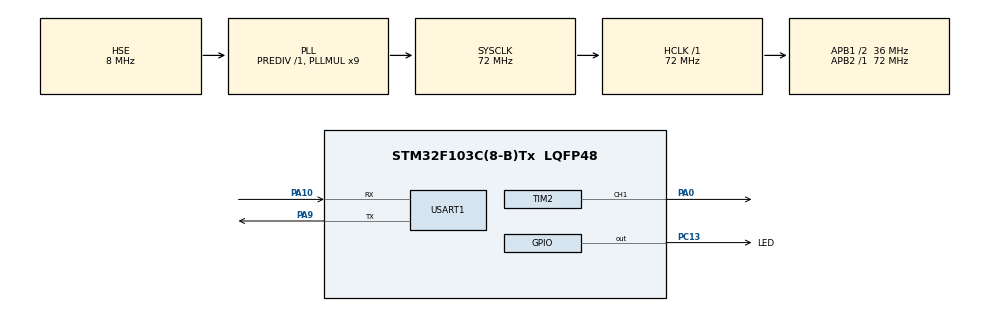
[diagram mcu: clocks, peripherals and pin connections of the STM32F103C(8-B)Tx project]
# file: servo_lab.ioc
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Mcu.Family=STM32F1
Mcu.Name=STM32F103C(8-B)Tx
Mcu.Package=LQFP48
NVIC.PriorityGroup=NVIC_PRIORITYGROUP_4
NVIC.TIM3_IRQn=true\:0\:0\:false\:false\:true\:true\:true\:true
PA0-WKUP.Signal=S_TIM2_CH1_ETR
PA10.Mode=Asynchronous
PA10.Signal=USART1_RX
PA13.Mode=Serial_Wire
PA13.Signal=SYS_JTMS-SWDIO
PA14.Mode=Serial_Wire
PA14.Signal=SYS_JTCK-SWCLK
PA9.Mode=Asynchronous
PA9.Signal=USART1_TX
PC13-TAMPER-RTC.GPIO_Label=LED
PC13-TAMPER-RTC.Signal=GPIO_Output
PD0-OSC_IN.Mode=HSE-External-Oscillator
PD0-OSC_IN.Signal=RCC_OSC_IN
PD1-OSC_OUT.Mode=HSE-External-Oscillator
PD1-OSC_OUT.Signal=RCC_OSC_OUT
ProjectManager.HeapSize=0x200
ProjectManager.StackSize=0x400
ProjectManager.TargetToolchain=CMake
RCC.AHBFreq_Value=72000000
RCC.APB1CLKDivider=RCC_HCLK_DIV2
RCC.APB1Freq_Value=36000000
RCC.APB1TimFreq_Value=72000000
RCC.APB2Freq_Value=72000000
RCC.APB2TimFreq_Value=72000000
RCC.HCLKFreq_Value=72000000
RCC.PLLMUL=RCC_PLL_MUL9
RCC.PLLSourceVirtual=RCC_PLLSOURCE_HSE
RCC.SYSCLKFreq_VALUE=72000000
RCC.SYSCLKSource=RCC_SYSCLKSOURCE_PLLCLK
RCC.USBFreq_Value=72000000
SH.S_TIM2_CH1_ETR.0=TIM2_CH1,PWM Generation1 CH1
TIM2.Channel-PWM\ Generation1\ CH1=TIM_CHANNEL_1
TIM2.Period=19999
TIM2.Prescaler=71
TIM3.Period=999
TIM3.Prescaler=71
USART1.VirtualMode=VM_ASYNC
VP_TIM3_VS_ClockSourceINT.Mode=Internal
board=custom

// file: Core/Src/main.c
/* USER CODE BEGIN Header */
/**
  ******************************************************************************
  * @file           : main.c
  * @brief          : Main program body
  ******************************************************************************
  * @attention
  *
  * Copyright (c) 2026 STMicroelectronics.
  * All rights reserved.
  *
  * This software is licensed under terms that can be found in the LICENSE file
  * in the root directory of this software component.
  * If no LICENSE file comes with this software, it is provided AS-IS.
  *
  ******************************************************************************
  */
/* USER CODE END Header */
#include "main.h"

/* USER CODE BEGIN Includes */
#include "Servo.h"
#include "OLED.h"
#include <stdio.h>

/* USER CODE END Includes */

/* USER CODE BEGIN PD */

/* ---- 按键定义 ----
 * 两个按键都接成"一端接引脚、一端接 GND"，引脚用内部上拉：
 *   松开 = 高电平(1)，按下 = 低电平(0)
 *
 *   PA12 -> 角度 +15°
 *   PA11 -> 角度 -15°
 *
 * 这两个脚原本是 USB 的 D+ / D-，本工程不用 USB，所以可以当普通 IO 用。
 * 但有一个硬前提：**板子上的 USB 口不能插线**。一旦插了 USB，
 * PA11/PA12 就被 USB 收发器占住，按键会失效。
 */
#define KEY_PORT          GPIOA
#define KEY_PIN_UP        GPIO_PIN_12    /* PA12：+15° */
#define KEY_PIN_DOWN      GPIO_PIN_11    /* PA11：-15° */

#define KEY_DEBOUNCE_MS   20             /* 消抖时间：电平要稳定 20ms 才算数 */
#define ANGLE_STEP        15.0f          /* 每按一次改变的角度 */

/* USER CODE END PD */

TIM_HandleTypeDef htim2;
TIM_HandleTypeDef htim3;

UART_HandleTypeDef huart1;

/* USER CODE BEGIN PV */
uint32_t tick = 0;

/* 自由累加的毫秒计数：在 TIM3 的 1ms 中断里 ++，不会归零。
 * 用来做按键消抖和序列节拍，比 tick（0~499 循环）好用。 */
static volatile uint32_t sysTickMs = 0;

/* 一个按键的运行状态 */
typedef struct
{
  uint16_t pin;      /* 引脚号 */
  uint8_t  raw;      /* 上次采样到的原始电平（1=松开 0=按下） */
  uint8_t  stable;   /* 消抖后确认的稳定电平 */
  uint32_t rawMs;    /* 原始电平上一次变化的时刻，单位 ms */
} Key_t;

static Key_t keyUp   = { KEY_PIN_UP,   1, 1, 0 };
static Key_t keyDown = { KEY_PIN_DOWN, 1, 1, 0 };

static float   curAngle   = 90.0f;  /* 当前目标角度 */
static uint8_t manualMode = 0;      /* 0 = 自动跑五角度序列，1 = 按键控制 */
/* USER CODE END PV */

void SystemClock_Config(void);
static void MX_GPIO_Init(void);
static void MX_TIM2_Init(void);
static void MX_TIM3_Init(void);
static void MX_USART1_UART_Init(void);

/* USER CODE BEGIN 0 */

/**
 * @brief  printf 重定向到 USART1（GCC 用 _write，不用 fputc）
 * @note  PA9 = USART1_TX -> CH340 的 RXD
 *        PA10 = USART1_RX <- CH340 的 TXD
 *        串口助手设 115200 / 8 数据位 / 无校验 / 1 停止位
 */
int _write(int file, char *ptr, int len)
{
  (void)file;
  HAL_UART_Transmit(&huart1, (uint8_t *)ptr, (uint16_t)len, HAL_MAX_DELAY);
  return len;
}

/**
 * @brief  按键扫描——"计时消抖"，不是"延时消抖"
 * @param  k 按键状态结构体
 * @retval 1 = 本次检测到一次"按下"（下降沿），0 = 无事件
 *
 * 为什么不用 HAL_Delay(20) 消抖：
 *   延时消抖会把主循环卡住 20ms，舵机 PWM 不受影响（那是硬件输出），
 *   但按键连续按、OLED 刷屏时会互相拖。这里改成看"电平稳定了多久"，
 *   完全不阻塞，主循环该干嘛干嘛。
 *
 * 逻辑很朴素，三句话：
 *   1. 电平一变，就记下"什么时刻变的"并重新开始计时；
 *   2. 电平连续 20ms 没再变，才承认它是真的；
 *   3. 承认下来的值是低电平，说明刚被按下 -> 返回 1。
 */
static uint8_t Key_Update(Key_t *k)
{
  uint8_t v = (HAL_GPIO_ReadPin(KEY_PORT, k->pin) == GPIO_PIN_RESET) ? 0 : 1;

  if (v != k->raw)                       /* 还在抖：重新计时，先不认 */
  {
    k->raw   = v;
    k->rawMs = sysTickMs;
  }
  else if ((sysTickMs - k->rawMs) >= KEY_DEBOUNCE_MS && v != k->stable)
  {
    k->stable = v;                       /* 稳定够久了，认下来 */
    if (v == 0) return 1;                /* 是按下（下降沿）才算一次事件 */
  }
  return 0;
}

/**
 * @brief  统一切角度：限幅 -> 驱动舵机 -> 刷新 OLED -> 打印串口
 * @note   自动序列和手动按键都走这一个出口，省得两处代码各写一遍、后面改漏一头。
 */
static void ApplyAngle(float a)
{
  if (a < 0.0f)   a = 0.0f;              /* 限幅：不超出 0~180，否则顶机械限位 */
  if (a > 180.0f) a = 180.0f;
  curAngle = a;

  Servo_SetAngle(a);

  uint16_t ccr = Servo_AngleToCCR(a);
  Servo_ShowOnOLED(a, ccr);
  printf("Target:%3d deg  CCR=%4d  Pulse=%d.%03d ms\r\n",
         (int)a, (int)ccr, (int)(ccr / 1000), (int)(ccr % 1000));
}

/* USER CODE END 0 */

int main(void)
{

  /* MCU Configuration--------------------------------------------------------*/

  /* Reset of all peripherals, Initializes the Flash interface and the Systick. */
  HAL_Init();

  /* Configure the system clock */
  SystemClock_Config();

  /* Initialize all configured peripherals */
  MX_GPIO_Init();
  MX_TIM2_Init();
  MX_TIM3_Init();
  MX_USART1_UART_Init();
  /* USER CODE BEGIN 2 */
  OLED_Init();

  /* 把自检的详细结果打到串口，比数灯可靠 */
  printf("\r\n=== servo_lab boot ===\r\n");
  printf("OLED probe: c1=%d c2=%d c3=%d c4=%d | result=%d addr=0x%02X\r\n",
         OLED_ProbeLog[0], OLED_ProbeLog[1], OLED_ProbeLog[2], OLED_ProbeLog[3],
         OLED_DetectResult, OLED_AckAddr);

  /* ---- OLED 自检结果，用板载灯闪的次数报告 ----
   *   闪 1 次 = 正常接法 + 地址 0x78（应该能正常显示）
   *   闪 2 次 = 正常接法 + 地址 0x7A（已自动切换，能显示）
   *   闪 3 次 = SCL/SDA 接反了，但驱动已自动纠正，能显示
   *   闪 4 次 = 接反 + 地址 0x7A，能显示
   *   闪 5 次 = 4 种组合全无应答（供电 / 断线 / 模块坏）
   */
  {
    uint8_t n = (OLED_DetectResult != 0) ? OLED_DetectResult : 5;
    for (uint8_t k = 0; k < n; k++)
    {
      HAL_GPIO_WritePin(GPIOC, GPIO_PIN_13, GPIO_PIN_RESET);  /* 亮 */
      HAL_Delay(150);
      HAL_GPIO_WritePin(GPIOC, GPIO_PIN_13, GPIO_PIN_SET);    /* 灭 */
      HAL_Delay(400);
    }
  }

  HAL_TIM_Base_Start_IT(&htim3);
  HAL_TIM_PWM_Start(&htim2, TIM_CHANNEL_1);

  /* ---- 按键 PA11 / PA12 初始化：输入 + 内部上拉 ----
   * CubeMX 里也能配（GPIO_Input + Pull-up），这里手写有两个好处：
   *   1. 不用重新 GENERATE CODE，也就不会把 .ld 里 5 处 READONLY 又改回来；
   *   2. 引脚定义和代码放在一起，看代码就知道接哪。
   * 上拉是"内部"的，所以按键另一端直接接 GND 就行，不用外接电阻。
   *
   * 注意：PA11/PA12 是 USB 的 D-/D+。板子上 USB 口空着时它们是普通 IO；
   *       如果插上 USB 线，这两个脚会被 USB 外设占用，按键就不灵了。
   */
  {
    GPIO_InitTypeDef g = {0};
    __HAL_RCC_GPIOA_CLK_ENABLE();
    g.Pin  = KEY_PIN_UP | KEY_PIN_DOWN;
    g.Mode = GPIO_MODE_INPUT;
    g.Pull = GPIO_PULLUP;
    HAL_GPIO_Init(KEY_PORT, &g);
  }

  OLED_Clear();
  ApplyAngle(90.0f);          /* 开机先摆到中位，屏幕立刻有内容可看 */
  /* USER CODE END 2 */

  /* Infinite loop */
  while (1)
  {

    /* USER CODE BEGIN 3 */
    static const float seq[5] = {0.0f, 45.0f, 90.0f, 135.0f, 180.0f};
    static uint8_t  seqStep = 0;
    static uint32_t seqMs   = 0;

    /* ---- 第一段：自动演示 ----
     * 每 1000ms 走一步五角度序列，这是作业要求的 5 个角度。
     * 注意这里用 sysTickMs 比较，而不是 HAL_Delay(1000)：
     * 延时会把主循环卡死，按键就按不灵了；用计时比较，1 秒内随时能响应按键。
     */
    if (!manualMode && (sysTickMs - seqMs) >= 1000)
    {
      seqMs = sysTickMs;
      ApplyAngle(seq[seqStep]);
      seqStep = (uint8_t)((seqStep + 1) % 5);
    }

    /* ---- 第二段：按键 ----
     * 只要按了任意一个键，就永久切到手动模式，之后不再自己乱动。
     * 想回到自动演示，按一下板子的 RESET 即可。
     */
    if (Key_Update(&keyUp))               /* PA12：+15° */
    {
      manualMode = 1;
      ApplyAngle(curAngle + ANGLE_STEP);
    }

    if (Key_Update(&keyDown))             /* PA11：-15° */
    {
      manualMode = 1;
      ApplyAngle(curAngle - ANGLE_STEP);
    }
  }
  /* USER CODE END 3 */
}

void SystemClock_Config(void)
{
  RCC_OscInitTypeDef RCC_OscInitStruct = {0};
  RCC_ClkInitTypeDef RCC_ClkInitStruct = {0};

  /** Initializes the RCC Oscillators according to the specified parameters
  * in the RCC_OscInitTypeDef structure.
  */
  RCC_OscInitStruct.OscillatorType = RCC_OSCILLATORTYPE_HSE;
  RCC_OscInitStruct.HSEState = RCC_HSE_ON;
  RCC_OscInitStruct.HSEPredivValue = RCC_HSE_PREDIV_DIV1;
  RCC_OscInitStruct.HSIState = RCC_HSI_ON;
  RCC_OscInitStruct.PLL.PLLState = RCC_PLL_ON;
  RCC_OscInitStruct.PLL.PLLSource = RCC_PLLSOURCE_HSE;
  RCC_OscInitStruct.PLL.PLLMUL = RCC_PLL_MUL9;
  if (HAL_RCC_OscConfig(&RCC_OscInitStruct) != HAL_OK)
  {
    Error_Handler();
  }

  /** Initializes the CPU, AHB and APB buses clocks
  */
  RCC_ClkInitStruct.ClockType = RCC_CLOCKTYPE_HCLK|RCC_CLOCKTYPE_SYSCLK
                              |RCC_CLOCKTYPE_PCLK1|RCC_CLOCKTYPE_PCLK2;
  RCC_ClkInitStruct.SYSCLKSource = RCC_SYSCLKSOURCE_PLLCLK;
  RCC_ClkInitStruct.AHBCLKDivider = RCC_SYSCLK_DIV1;
  RCC_ClkInitStruct.APB1CLKDivider = RCC_HCLK_DIV2;
  RCC_ClkInitStruct.APB2CLKDivider = RCC_HCLK_DIV1;

  if (HAL_RCC_ClockConfig(&RCC_ClkInitStruct, FLASH_LATENCY_2) != HAL_OK)
  {
    Error_Handler();
  }
}

static void MX_TIM2_Init(void)
{

  TIM_MasterConfigTypeDef sMasterConfig = {0};
  TIM_OC_InitTypeDef sConfigOC = {0};

  htim2.Instance = TIM2;
  htim2.Init.Prescaler = 71;
  htim2.Init.CounterMode = TIM_COUNTERMODE_UP;
  htim2.Init.Period = 19999;
  htim2.Init.ClockDivision = TIM_CLOCKDIVISION_DIV1;
  htim2.Init.AutoReloadPreload = TIM_AUTORELOAD_PRELOAD_DISABLE;
  if (HAL_TIM_PWM_Init(&htim2) != HAL_OK)
  {
    Error_Handler();
  }
  sMasterConfig.MasterOutputTrigger = TIM_TRGO_RESET;
  sMasterConfig.MasterSlaveMode = TIM_MASTERSLAVEMODE_DISABLE;
  if (HAL_TIMEx_MasterConfigSynchronization(&htim2, &sMasterConfig) != HAL_OK)
  {
    Error_Handler();
  }
  sConfigOC.OCMode = TIM_OCMODE_PWM1;
  sConfigOC.Pulse = 0;
  sConfigOC.OCPolarity = TIM_OCPOLARITY_HIGH;
  sConfigOC.OCFastMode = TIM_OCFAST_DISABLE;
  if (HAL_TIM_PWM_ConfigChannel(&htim2, &sConfigOC, TIM_CHANNEL_1) != HAL_OK)
  {
    Error_Handler();
  }
  HAL_TIM_MspPostInit(&htim2);

}

static void MX_TIM3_Init(void)
{

  TIM_ClockConfigTypeDef sClockSourceConfig = {0};
  TIM_MasterConfigTypeDef sMasterConfig = {0};

  htim3.Instance = TIM3;
  htim3.Init.Prescaler = 71;
  htim3.Init.CounterMode = TIM_COUNTERMODE_UP;
  htim3.Init.Period = 999;
  htim3.Init.ClockDivision = TIM_CLOCKDIVISION_DIV1;
  htim3.Init.AutoReloadPreload = TIM_AUTORELOAD_PRELOAD_DISABLE;
  if (HAL_TIM_Base_Init(&htim3) != HAL_OK)
  {
    Error_Handler();
  }
  sClockSourceConfig.ClockSource = TIM_CLOCKSOURCE_INTERNAL;
  if (HAL_TIM_ConfigClockSource(&htim3, &sClockSourceConfig) != HAL_OK)
  {
    Error_Handler();
  }
  sMasterConfig.MasterOutputTrigger = TIM_TRGO_RESET;
  sMasterConfig.MasterSlaveMode = TIM_MASTERSLAVEMODE_DISABLE;
  if (HAL_TIMEx_MasterConfigSynchronization(&htim3, &sMasterConfig) != HAL_OK)
  {
    Error_Handler();
  }

}

static void MX_USART1_UART_Init(void)
{

  huart1.Instance = USART1;
  huart1.Init.BaudRate = 115200;
  huart1.Init.WordLength = UART_WORDLENGTH_8B;
  huart1.Init.StopBits = UART_STOPBITS_1;
  huart1.Init.Parity = UART_PARITY_NONE;
  huart1.Init.Mode = UART_MODE_TX_RX;
  huart1.Init.HwFlowCtl = UART_HWCONTROL_NONE;
  huart1.Init.OverSampling = UART_OVERSAMPLING_16;
  if (HAL_UART_Init(&huart1) != HAL_OK)
  {
    Error_Handler();
  }

}

static void MX_GPIO_Init(void)
{
  GPIO_InitTypeDef GPIO_InitStruct = {0};

  /* GPIO Ports Clock Enable */
  __HAL_RCC_GPIOC_CLK_ENABLE();
  __HAL_RCC_GPIOD_CLK_ENABLE();
  __HAL_RCC_GPIOA_CLK_ENABLE();

  /*Configure GPIO pin Output Level */
  HAL_GPIO_WritePin(LED_GPIO_Port, LED_Pin, GPIO_PIN_RESET);

  /*Configure GPIO pin : LED_Pin */
  GPIO_InitStruct.Pin = LED_Pin;
  GPIO_InitStruct.Mode = GPIO_MODE_OUTPUT_PP;
  GPIO_InitStruct.Pull = GPIO_NOPULL;
  GPIO_InitStruct.Speed = GPIO_SPEED_FREQ_LOW;
  HAL_GPIO_Init(LED_GPIO_Port, &GPIO_InitStruct);

}

/* USER CODE BEGIN 4 */
void HAL_TIM_PeriodElapsedCallback(TIM_HandleTypeDef *htim)
{
  if (htim->Instance == TIM3) {
    sysTickMs++;                          /* 自由累加的毫秒计数，给按键消抖和序列节拍用 */
    if (++tick >= 500) {
      tick = 0;
      HAL_GPIO_TogglePin(LED_GPIO_Port, LED_Pin);
    }
  }
}
/* USER CODE END 4 */

void Error_Handler(void)
{
  __disable_irq();
  while (1)
  {
  }
}
